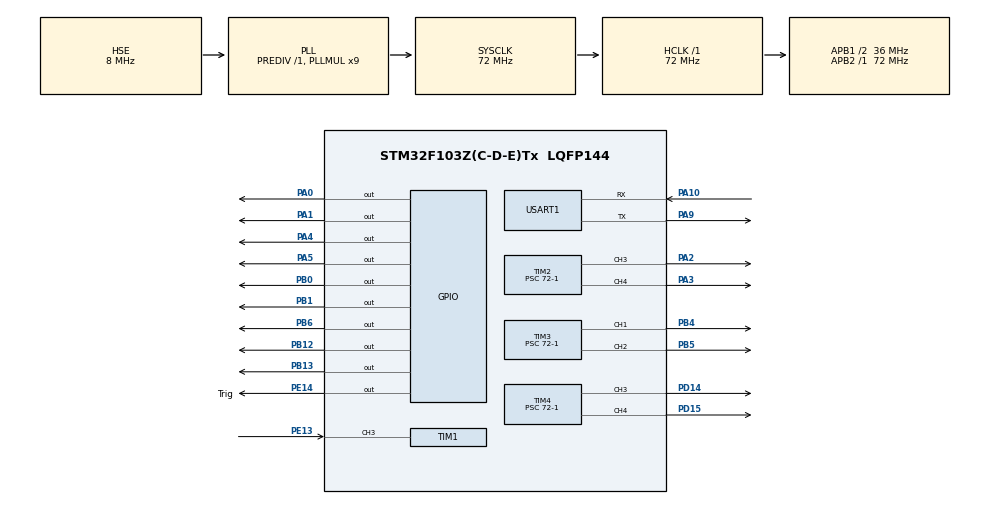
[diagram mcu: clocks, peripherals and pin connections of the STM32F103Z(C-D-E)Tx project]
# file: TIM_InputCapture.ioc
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Dma.Request0=USART1_RX
Dma.Request1=USART1_TX
Dma.USART1_RX.0.Direction=DMA_PERIPH_TO_MEMORY
Dma.USART1_RX.0.Instance=DMA1_Channel5
Dma.USART1_RX.0.MemDataAlignment=DMA_MDATAALIGN_BYTE
Dma.USART1_RX.0.MemInc=DMA_MINC_ENABLE
Dma.USART1_RX.0.Mode=DMA_NORMAL
Dma.USART1_RX.0.PeriphDataAlignment=DMA_PDATAALIGN_BYTE
Dma.USART1_RX.0.PeriphInc=DMA_PINC_DISABLE
Dma.USART1_RX.0.Priority=DMA_PRIORITY_LOW
Dma.USART1_TX.1.Direction=DMA_MEMORY_TO_PERIPH
Dma.USART1_TX.1.Instance=DMA1_Channel4
Dma.USART1_TX.1.MemDataAlignment=DMA_MDATAALIGN_BYTE
Dma.USART1_TX.1.MemInc=DMA_MINC_ENABLE
Dma.USART1_TX.1.Mode=DMA_NORMAL
Dma.USART1_TX.1.PeriphDataAlignment=DMA_PDATAALIGN_BYTE
Dma.USART1_TX.1.PeriphInc=DMA_PINC_DISABLE
Dma.USART1_TX.1.Priority=DMA_PRIORITY_LOW
Mcu.Family=STM32F1
Mcu.Name=STM32F103Z(C-D-E)Tx
Mcu.Package=LQFP144
NVIC.DMA1_Channel4_IRQn=true\:0\:0\:false\:false\:true\:false\:true\:true
NVIC.DMA1_Channel5_IRQn=true\:0\:0\:false\:false\:true\:false\:true\:true
NVIC.PriorityGroup=NVIC_PRIORITYGROUP_4
NVIC.TIM1_CC_IRQn=true\:6\:0\:true\:false\:true\:true\:true\:true
NVIC.TIM1_TRG_COM_IRQn=true\:6\:0\:true\:false\:true\:true\:true\:true
NVIC.TIM1_UP_IRQn=true\:6\:0\:true\:false\:true\:true\:true\:true
NVIC.TIM4_IRQn=true\:0\:0\:false\:false\:true\:true\:true\:true
NVIC.USART1_IRQn=true\:0\:0\:true\:false\:true\:true\:true\:true
OSC_IN.Mode=HSE-External-Oscillator
OSC_IN.Signal=RCC_OSC_IN
OSC_OUT.Mode=HSE-External-Oscillator
OSC_OUT.Signal=RCC_OSC_OUT
PA0-WKUP.Signal=GPIO_Output
PA1.Signal=GPIO_Output
PA10.Mode=Asynchronous
PA10.Signal=USART1_RX
PA13.Mode=Serial_Wire
PA13.Signal=SYS_JTMS-SWDIO
PA14.Mode=Serial_Wire
PA14.Signal=SYS_JTCK-SWCLK
PA2.Signal=S_TIM2_CH3
PA3.Signal=S_TIM2_CH4
PA4.Signal=GPIO_Output
PA5.Signal=GPIO_Output
PA9.Mode=Asynchronous
PA9.Signal=USART1_TX
PB0.Signal=GPIO_Output
PB1.Signal=GPIO_Output
PB12.Signal=GPIO_Output
PB13.Signal=GPIO_Output
PB4.Signal=S_TIM3_CH1
PB5.Signal=S_TIM3_CH2
PB6.Signal=GPIO_Output
PD14.Signal=S_TIM4_CH3
PD15.Signal=S_TIM4_CH4
PE13.Signal=S_TIM1_CH3
PE14.GPIO_Label=Trig
PE14.Signal=GPIO_Output
PE9.Signal=S_TIM1_CH1
ProjectManager.HeapSize=0x200
ProjectManager.StackSize=0x400
ProjectManager.TargetToolchain=MDK-ARM V5.32
RCC.AHBFreq_Value=72000000
RCC.APB1CLKDivider=RCC_HCLK_DIV2
RCC.APB1Freq_Value=36000000
RCC.APB1TimFreq_Value=72000000
RCC.APB2Freq_Value=72000000
RCC.APB2TimFreq_Value=72000000
RCC.HCLKFreq_Value=72000000
RCC.PLLMUL=RCC_PLL_MUL9
RCC.PLLSourceVirtual=RCC_PLLSOURCE_HSE
RCC.SYSCLKFreq_VALUE=72000000
RCC.SYSCLKSource=RCC_SYSCLKSOURCE_PLLCLK
RCC.USBFreq_Value=72000000
SH.S_TIM1_CH1.0=TIM1_CH1
SH.S_TIM1_CH3.0=TIM1_CH3,Input_Capture3_from_TI3
SH.S_TIM2_CH3.0=TIM2_CH3,PWM Generation3 CH3
SH.S_TIM2_CH4.0=TIM2_CH4,PWM Generation4 CH4
SH.S_TIM3_CH1.0=TIM3_CH1,PWM Generation1 CH1
SH.S_TIM3_CH2.0=TIM3_CH2,PWM Generation2 CH2
SH.S_TIM4_CH3.0=TIM4_CH3,PWM Generation3 CH3
SH.S_TIM4_CH4.0=TIM4_CH4,PWM Generation4 CH4
TIM1.Channel-Input_Capture3_from_TI3=TIM_CHANNEL_3
TIM1.Period=65535-1
TIM1.Prescaler=72-1
TIM2.Channel-PWM\ Generation3\ CH3=TIM_CHANNEL_3
TIM2.Channel-PWM\ Generation4\ CH4=TIM_CHANNEL_4
TIM2.Period=255-1
TIM2.Prescaler=72-1
TIM3.Channel-PWM\ Generation1\ CH1=TIM_CHANNEL_1
TIM3.Channel-PWM\ Generation2\ CH2=TIM_CHANNEL_2
TIM3.Period=255-1
TIM3.Prescaler=72-1
TIM4.Channel-PWM\ Generation3\ CH3=TIM_CHANNEL_3
TIM4.Channel-PWM\ Generation4\ CH4=TIM_CHANNEL_4
TIM4.Period=20000-1
TIM4.Prescaler=72-1
USART1.VirtualMode=VM_ASYNC
VP_TIM1_VS_ClockSourceINT.Mode=Internal
VP_TIM2_VS_ClockSourceINT.Mode=Internal
VP_TIM3_VS_ClockSourceINT.Mode=Internal
board=custom

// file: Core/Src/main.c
/* USER CODE BEGIN Header */
/**
  ******************************************************************************
  * @file           : main.c
  * @brief          : Main program body
  ******************************************************************************
  * @attention
  *
  * Copyright (c) 2025 STMicroelectronics.
  * All rights reserved.
  *
  * This software is licensed under terms that can be found in the LICENSE file
  * in the root directory of this software component.
  * If no LICENSE file comes with this software, it is provided AS-IS.
  *
  ******************************************************************************
  */
/* USER CODE END Header */
#include "main.h"
#include "dma.h"
#include "tim.h"
#include "usart.h"
#include "gpio.h"

/* USER CODE BEGIN Includes */
#include "Inputcapture.h"
#include "motor.h"
#include "sero.h"
#include "uart.h"
#include "stdio.h"
/* USER CODE END Includes */

/* USER CODE BEGIN PTD */
//int fputc(int ch,FILE*f)
//{
//	HAL_UART_Transmit(&huart1,(uint8_t*)&ch,1,0xffff);
//	return ch;
//}
//int fgetc(FILE*f)
//{
//	uint8_t ch=0;
//	HAL_UART_Receive(&huart1,&ch,1,0xffff);
//	return ch;
//}
//解决float转uint8_t  学会了吗？重定向
/* USER CODE END PTD */

void SystemClock_Config(void);

int main(void)
{

  /* MCU Configuration--------------------------------------------------------*/

  /* Reset of all peripherals, Initializes the Flash interface and the Systick. */
  HAL_Init();

  /* USER CODE BEGIN Init */
		// 初始化舵机
    Servo_Init();

    // 设置云台初始位置
    Servo_SetAngle(SERVO_HORIZONTAL, 0);   // 水平居中
    Servo_SetAngle(SERVO_VERTICAL, 0);     // 垂直水平
    HAL_Delay(1000);
  /* USER CODE END Init */

  /* Configure the system clock */
  SystemClock_Config();

  /* Initialize all configured peripherals */
  MX_GPIO_Init();
  MX_DMA_Init();
  MX_USART1_UART_Init();
  MX_TIM1_Init();
  MX_TIM3_Init();
  MX_TIM2_Init();
  MX_TIM4_Init();
  /* USER CODE BEGIN 2 */
	HAL_TIM_Base_Start_IT(&htim1);   // 超声波定时器
	uint8_t bluetooth_rx_data;
	HAL_UART_Receive_IT(&huart1, &bluetooth_rx_data, 1); // 蓝牙接收中断
	HAL_TIM_PWM_Start(&htim3, TIM_CHANNEL_1);//电机初始化
	HAL_TIM_PWM_Start(&htim3, TIM_CHANNEL_2);
	HAL_TIM_PWM_Start(&htim1, TIM_CHANNEL_1);
	HAL_TIM_PWM_Start(&htim1, TIM_CHANNEL_4);
	HAL_TIM_PWM_Start(&htim4, TIM_CHANNEL_3); //舵机初始化
	HAL_TIM_PWM_Start(&htim4, TIM_CHANNEL_4);
  /* USER CODE END 2 */

  /* Infinite loop */
  /* USER CODE BEGIN WHILE */
	//Inputcapture_Init();
  while (1)
  {
		HAL_UART_RxCpltCallback(&huart1);
		int	Bluetooth_ProcessCommand(uint8_t cmd);
		Inputcapture_Init();

		//1.超声波测距
    float dist = Inputcapture_GetDistance();
		char message[20]="";
		sprintf(message,"distance:%.2f\r\n",distance);
		HAL_UART_Transmit(&huart1,(uint8_t *)message,sizeof(message),0xff);
		//避障
//    if (dist < 30.0&&dist>0) { //检测到障碍物小于30cm
//        Servo_SetAngle(&htim4, TIM_CHANNEL_3, 90); //转向90度
//			  Move_RightFront(200);
//				HAL_Delay(500);
//			//其他避障动作（电机）
//    } else {
//        Servo_SetAngle(&htim4, TIM_CHANNEL_3, 0); //回正
//			  Move_Front (200);//控制电机，前进
//
//			// 3. 非阻塞延时（避免卡死）
//        static uint32_t last_tick = 0;
//        if (HAL_GetTick() - last_tick >= 100) {
//            last_tick = HAL_GetTick();
//            HAL_GPIO_TogglePin(GPIOE, GPIO_PIN_5); // LED 闪烁
//        }

        if (dist < 30.0 && dist > 0) {
            // 检测到近距离物体，调整云台角度
						Move_RightFront(200);
            Servo_SetAngle(SERVO_HORIZONTAL, 30);
            Servo_SetAngle(SERVO_VERTICAL, 15);
						HAL_Delay(500);
        } else {
            // 恢复正常位置
						Move_Front (200);//控制电机，前进
            Servo_SetAngle(SERVO_HORIZONTAL, 0);
            Servo_SetAngle(SERVO_VERTICAL, 0);
        }
			//  非阻塞延时（避免卡死）
        static uint32_t last_tick = 0;
        if (HAL_GetTick() - last_tick >= 100) {
            last_tick = HAL_GetTick();
            HAL_GPIO_TogglePin(GPIOE, GPIO_PIN_5); // LED 闪烁
        }
    /* USER CODE END WHILE */
			}
  }

void SystemClock_Config(void)
{
  RCC_OscInitTypeDef RCC_OscInitStruct = {0};
  RCC_ClkInitTypeDef RCC_ClkInitStruct = {0};

  /** Initializes the RCC Oscillators according to the specified parameters
  * in the RCC_OscInitTypeDef structure.
  */
  RCC_OscInitStruct.OscillatorType = RCC_OSCILLATORTYPE_HSE;
  RCC_OscInitStruct.HSEState = RCC_HSE_ON;
  RCC_OscInitStruct.HSEPredivValue = RCC_HSE_PREDIV_DIV1;
  RCC_OscInitStruct.HSIState = RCC_HSI_ON;
  RCC_OscInitStruct.PLL.PLLState = RCC_PLL_ON;
  RCC_OscInitStruct.PLL.PLLSource = RCC_PLLSOURCE_HSE;
  RCC_OscInitStruct.PLL.PLLMUL = RCC_PLL_MUL9;
  if (HAL_RCC_OscConfig(&RCC_OscInitStruct) != HAL_OK)
  {
    Error_Handler();
  }

  /** Initializes the CPU, AHB and APB buses clocks
  */
  RCC_ClkInitStruct.ClockType = RCC_CLOCKTYPE_HCLK|RCC_CLOCKTYPE_SYSCLK
                              |RCC_CLOCKTYPE_PCLK1|RCC_CLOCKTYPE_PCLK2;
  RCC_ClkInitStruct.SYSCLKSource = RCC_SYSCLKSOURCE_PLLCLK;
  RCC_ClkInitStruct.AHBCLKDivider = RCC_SYSCLK_DIV1;
  RCC_ClkInitStruct.APB1CLKDivider = RCC_HCLK_DIV2;
  RCC_ClkInitStruct.APB2CLKDivider = RCC_HCLK_DIV1;

  if (HAL_RCC_ClockConfig(&RCC_ClkInitStruct, FLASH_LATENCY_2) != HAL_OK)
  {
    Error_Handler();
  }
}

void Error_Handler(void)
{
  __disable_irq();
  while (1)
  {
  }
}
